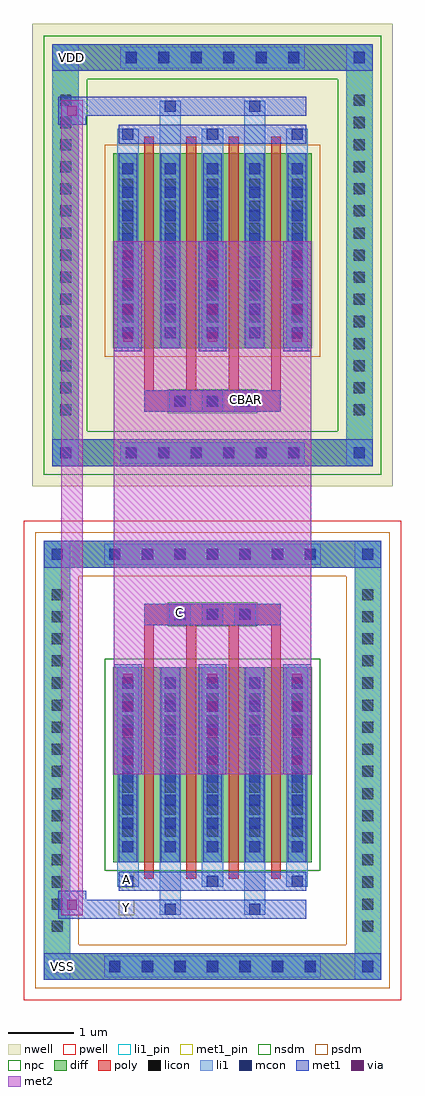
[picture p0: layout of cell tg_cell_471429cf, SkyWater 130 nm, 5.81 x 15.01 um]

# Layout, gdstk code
import gdstk
lib = gdstk.Library(unit=1e-6, precision=5e-09)
def R(c, l, rs):  # rectangles x0, y0, x1, y1
    for r in rs: c.add(gdstk.rectangle(r[:2], r[2:], *l))
def A(c, l, x, y, w, h, nx, ny, dx, dy):  # array of equal rectangles
    R(c, l, [(x+i*dx, y+j*dy, x+i*dx+w, y+j*dy+h) for i in range(nx) for j in range(ny)])
def P(c, l, *ps):  # polygons
    for p in ps: c.add(gdstk.Polygon(p, *l))
nwell = (64, 20)
pwell = (64, 44)
diff = (65, 20)
poly = (66, 20)
licon = (66, 44)
li1_pin = (67, 16)
li1 = (67, 20)
mcon = (67, 44)
met1_pin = (68, 16)
met1 = (68, 20)
via = (68, 44)
met2 = (69, 20)
nsdm = (93, 44)
psdm = (94, 20)
npc = (95, 20)

tg_cell_471429cf = lib.new_cell('tg_cell_471429cf')
R(tg_cell_471429cf, nwell, [(-2.775,4.215,2.775,11.325)])
R(tg_cell_471429cf, pwell, [(-2.905,-3.685,2.905,3.685)])
A(tg_cell_471429cf, diff, -1.705, -3.375, 0.41, 0.41, 7, 2, 0.5, 6.34)
A(tg_cell_471429cf, diff, -2.595, -2.755, 0.41, 0.41, 1, 16, 0, 0.34)
A(tg_cell_471429cf, diff, 2.185, -2.755, 0.41, 0.41, 1, 16, 0, 0.34)
A(tg_cell_471429cf, diff, -1.455, 4.525, 0.41, 0.41, 6, 2, 0.5, 6.08)
A(tg_cell_471429cf, diff, -2.465, 5.185, 0.41, 0.41, 1, 15, 0, 0.34)
A(tg_cell_471429cf, diff, 2.055, 5.185, 0.41, 0.41, 1, 15, 0, 0.34)
R(tg_cell_471429cf, diff, [(-1.705,-3.375,1.705,-2.965), (-2.595,-2.755,-2.185,2.755), (2.185,-2.755,2.595,2.755), (-1.525,-1.57,1.525,1.43), (-1.705,2.965,1.705,3.375), (-1.455,4.525,1.455,4.935), (-2.465,5.185,-2.055,10.355), (2.055,5.185,2.465,10.355), (-1.525,6.34,1.525,9.34), (-1.455,10.605,1.455,11.015)])
P(tg_cell_471429cf, diff, [(2.465,11.015),(-2.465,11.015),(-2.465,4.935),(-2.055,4.935),(-2.055,10.605),(2.055,10.605),(2.055,4.935),(-2.055,4.935),(-2.465,4.935),(-2.465,4.525),(2.465,4.525)],
  [(2.595,-3.375),(-2.595,-3.375),(-2.595,2.965),(-2.185,2.965),(-2.185,-2.965),(2.185,-2.965),(2.185,2.965),(-2.185,2.965),(-2.595,2.965),(-2.595,3.375),(2.595,3.375)])
A(tg_cell_471429cf, poly, -1.05, -1.82, 0.15, 3.5, 4, 2, 0.65, 7.91)
A(tg_cell_471429cf, poly, -1.05, 1.68, 0.15, 0.4, 4, 2, 0.65, 4.01)
A(tg_cell_471429cf, poly, -0.665, 2.08, 0.33, 0.33, 3, 2, 0.5, 3.28)
R(tg_cell_471429cf, poly, [(-1.05,2.08,1.05,2.41), (-1.05,5.36,1.05,5.69)])
A(tg_cell_471429cf, licon, -1.585, -3.255, 0.17, 0.17, 7, 2, 0.5, 6.34)
A(tg_cell_471429cf, licon, -2.475, -2.635, 0.17, 0.17, 1, 16, 0, 0.34)
A(tg_cell_471429cf, licon, 2.305, -2.635, 0.17, 0.17, 1, 16, 0, 0.34)
A(tg_cell_471429cf, licon, -1.385, -1.175, 0.17, 0.17, 5, 7, 0.65, 0.34)
A(tg_cell_471429cf, licon, -0.585, 2.16, 0.17, 0.17, 3, 2, 0.5, 3.28)
A(tg_cell_471429cf, licon, -1.335, 4.645, 0.17, 0.17, 6, 2, 0.5, 6.08)
A(tg_cell_471429cf, licon, -2.345, 5.305, 0.17, 0.17, 1, 15, 0, 0.34)
A(tg_cell_471429cf, licon, 2.175, 5.305, 0.17, 0.17, 1, 15, 0, 0.34)
A(tg_cell_471429cf, licon, -1.385, 6.735, 0.17, 0.17, 5, 7, 0.65, 0.34)
R(tg_cell_471429cf, li1_pin, [(-0.62,2.15,-0.38,2.39), (0.38,5.43,0.62,5.67)])
A(tg_cell_471429cf, li1, -1.665, -3.335, 0.33, 0.33, 7, 2, 0.5, 6.34)
A(tg_cell_471429cf, li1, -2.555, -2.715, 0.33, 0.33, 1, 16, 0, 0.34)
A(tg_cell_471429cf, li1, 2.225, -2.715, 0.33, 0.33, 1, 16, 0, 0.34)
A(tg_cell_471429cf, li1, -1.465, -1.945, 0.33, 0.375, 3, 2, 1.3, 11.285)
A(tg_cell_471429cf, li1, -1.385, -1.945, 0.17, 0.17, 3, 2, 1.3, 11.49)
A(tg_cell_471429cf, li1, -1.465, -1.57, 0.33, 3, 5, 2, 0.65, 7.91)
A(tg_cell_471429cf, li1, -1.385, -1.415, 0.17, 0.17, 5, 8, 0.65, 0.36)
A(tg_cell_471429cf, li1, -1.385, -1.415, 0.17, 2.69, 5, 2, 0.65, 7.91)
A(tg_cell_471429cf, li1, -1.465, -1.255, 0.33, 0.33, 5, 7, 0.65, 0.34)
A(tg_cell_471429cf, li1, -0.665, 2.08, 0.33, 0.33, 3, 2, 0.5, 3.28)
A(tg_cell_471429cf, li1, -1.415, 4.565, 0.33, 0.33, 6, 2, 0.5, 6.08)
A(tg_cell_471429cf, li1, -2.425, 5.225, 0.33, 0.33, 1, 15, 0, 0.34)
A(tg_cell_471429cf, li1, 2.095, 5.225, 0.33, 0.33, 1, 15, 0, 0.34)
A(tg_cell_471429cf, li1, -1.385, 6.495, 0.17, 0.17, 5, 8, 0.65, 0.36)
A(tg_cell_471429cf, li1, -1.465, 6.655, 0.33, 0.33, 5, 7, 0.65, 0.34)
R(tg_cell_471429cf, li1, [(-2.595,-3.375,-2.185,-2.965), (2.185,-3.375,2.595,-2.965), (-1.665,-3.335,1.665,-3.005), (-2.475,-3.255,-2.305,-3.085), (-2.475,-3.255,-2.305,-3.085), (2.305,-3.255,2.475,-3.085), (2.305,-3.255,2.475,-3.085), (-2.595,-2.965,-2.185,2.965), (2.185,-2.965,2.595,2.965), (-0.815,-2.375,-0.485,-1.57), (-0.735,-2.375,-0.565,-2.205), (0.485,-2.375,0.815,-1.57), (0.565,-2.375,0.735,-2.205), (-2.595,2.965,-2.185,3.375), (2.185,2.965,2.595,3.375), (-1.665,3.005,1.665,3.335), (-2.475,3.085,-2.305,3.255), (-2.475,3.085,-2.305,3.255), (2.305,3.085,2.475,3.255), (2.305,3.085,2.475,3.255), (-2.465,4.525,-2.055,4.935), (2.055,4.525,2.465,4.935), (-1.415,4.565,1.415,4.895), (-2.345,4.645,-2.175,4.815), (-2.345,4.645,-2.175,4.815), (2.175,4.645,2.345,4.815), (2.175,4.645,2.345,4.815), (-2.465,4.935,-2.055,10.605), (2.055,4.935,2.465,10.605), (-0.815,9.34,-0.485,10.145), (0.485,9.34,0.815,10.145), (-0.735,9.975,-0.565,10.145), (0.565,9.975,0.735,10.145), (-2.465,10.605,-2.055,11.015), (2.055,10.605,2.465,11.015), (-1.415,10.645,1.415,10.975), (-2.345,10.725,-2.175,10.895), (-2.345,10.725,-2.175,10.895), (2.175,10.725,2.345,10.895), (2.175,10.725,2.345,10.895)])
A(tg_cell_471429cf, mcon, -1.585, -3.255, 0.17, 0.17, 7, 2, 0.5, 6.34)
A(tg_cell_471429cf, mcon, -1.385, -1.945, 0.17, 0.17, 3, 2, 1.3, 11.49)
A(tg_cell_471429cf, mcon, -1.385, -1.415, 0.17, 0.17, 5, 8, 0.65, 0.36)
A(tg_cell_471429cf, mcon, -0.585, 2.16, 0.17, 0.17, 3, 2, 0.5, 3.28)
A(tg_cell_471429cf, mcon, -1.335, 4.645, 0.17, 0.17, 6, 2, 0.5, 6.08)
A(tg_cell_471429cf, mcon, -1.385, 6.495, 0.17, 0.17, 5, 8, 0.65, 0.36)
R(tg_cell_471429cf, mcon, [(-2.475,-3.255,-2.305,-3.085), (2.305,-3.255,2.475,-3.085), (-0.735,-2.375,-0.565,-2.205), (0.565,-2.375,0.735,-2.205), (-2.475,3.085,-2.305,3.255), (2.305,3.085,2.475,3.255), (-2.345,4.645,-2.175,4.815), (2.175,4.645,2.345,4.815), (-0.735,9.975,-0.565,10.145), (0.565,9.975,0.735,10.145), (-2.345,10.725,-2.175,10.895), (2.175,10.725,2.345,10.895)])
R(tg_cell_471429cf, met1_pin, [(-2.425,-3.29,-2.185,-3.05), (-1.445,-2.385,-1.205,-2.145), (-1.445,-1.955,-1.205,-1.715), (-2.295,10.69,-2.055,10.93)])
A(tg_cell_471429cf, met1, -1.645, -3.315, 0.29, 0.29, 7, 2, 0.5, 6.34)
A(tg_cell_471429cf, met1, -1.445, -2.005, 0.29, 0.29, 3, 2, 1.3, 11.49)
A(tg_cell_471429cf, met1, -1.445, -1.57, 0.29, 3, 5, 2, 0.65, 7.91)
A(tg_cell_471429cf, met1, -1.445, -1.475, 0.29, 0.29, 5, 8, 0.65, 0.36)
A(tg_cell_471429cf, met1, -0.645, 2.1, 0.29, 0.29, 3, 2, 0.5, 3.28)
A(tg_cell_471429cf, met1, -1.395, 4.585, 0.29, 0.29, 6, 2, 0.5, 6.08)
A(tg_cell_471429cf, met1, -1.445, 6.435, 0.29, 0.29, 5, 8, 0.65, 0.36)
R(tg_cell_471429cf, met1, [(-2.595,-3.375,-2.185,-2.965), (-2.595,-3.375,-2.185,-2.965), (-2.185,-3.375,2.185,-2.965), (2.185,-3.375,2.595,-2.965), (2.185,-3.375,2.595,-2.965), (-2.535,-3.315,-2.245,-3.025), (2.245,-3.315,2.535,-3.025), (-2.375,-2.435,-1.445,-2.145), (-2.375,-2.435,-1.945,-2.005), (-1.445,-2.435,1.445,-2.145), (-0.795,-2.435,-0.505,-2.145), (0.505,-2.435,0.795,-2.145), (-1.445,-2.005,1.445,-1.715), (-1.515,-0.215,-1.085,0.215), (-1.515,-0.215,-1.085,0.215), (-0.215,-0.215,0.215,0.215), (-0.215,-0.215,0.215,0.215), (1.085,-0.215,1.515,0.215), (1.085,-0.215,1.515,0.215), (-1.515,0.205,-1.085,0.635), (-1.515,0.205,-1.085,0.635), (-0.215,0.205,0.215,0.635), (-0.215,0.205,0.215,0.635), (1.085,0.205,1.515,0.635), (1.085,0.205,1.515,0.635), (-1.515,0.625,-1.085,1.055), (-1.515,0.625,-1.085,1.055), (-0.215,0.625,0.215,1.055), (-0.215,0.625,0.215,1.055), (1.085,0.625,1.515,1.055), (1.085,0.625,1.515,1.055), (-1.515,1.045,-1.085,1.475), (-1.515,1.045,-1.085,1.475), (-0.215,1.045,0.215,1.475), (-0.215,1.045,0.215,1.475), (1.085,1.045,1.515,1.475), (1.085,1.045,1.515,1.475), (-1.05,2.08,1.05,2.41), (-2.595,2.965,-2.185,3.375), (-2.595,2.965,-2.185,3.375), (-2.185,2.965,2.185,3.375), (2.185,2.965,2.595,3.375), (2.185,2.965,2.595,3.375), (-2.535,3.025,-2.245,3.315), (2.245,3.025,2.535,3.315), (-2.465,4.525,-2.055,4.935), (-2.465,4.525,-2.055,4.935), (-2.055,4.525,2.055,4.935), (2.055,4.525,2.465,4.935), (2.055,4.525,2.465,4.935), (-2.405,4.585,-2.115,4.875), (2.115,4.585,2.405,4.875), (-1.05,5.36,1.05,5.69), (-1.515,6.295,-1.085,6.725), (-1.515,6.295,-1.085,6.725), (-0.215,6.295,0.215,6.725), (-0.215,6.295,0.215,6.725), (1.085,6.295,1.515,6.725), (1.085,6.295,1.515,6.725), (-1.515,6.715,-1.085,7.145), (-1.515,6.715,-1.085,7.145), (-0.215,6.715,0.215,7.145), (-0.215,6.715,0.215,7.145), (1.085,6.715,1.515,7.145), (1.085,6.715,1.515,7.145), (-1.515,7.135,-1.085,7.565), (-1.515,7.135,-1.085,7.565), (-0.215,7.135,0.215,7.565), (-0.215,7.135,0.215,7.565), (1.085,7.135,1.515,7.565), (1.085,7.135,1.515,7.565), (-1.515,7.555,-1.085,7.985), (-1.515,7.555,-1.085,7.985), (-0.215,7.555,0.215,7.985), (-0.215,7.555,0.215,7.985), (1.085,7.555,1.515,7.985), (1.085,7.555,1.515,7.985), (-1.445,9.485,1.445,9.775), (-2.375,9.775,-1.945,10.205), (-2.375,9.915,-1.445,10.205), (-1.445,9.915,1.445,10.205), (-0.795,9.915,-0.505,10.205), (0.505,9.915,0.795,10.205), (-2.465,10.605,-2.055,11.015), (-2.465,10.605,-2.055,11.015), (-2.055,10.605,2.055,11.015), (2.055,10.605,2.465,11.015), (2.055,10.605,2.465,11.015), (-2.405,10.665,-2.115,10.955), (2.115,10.665,2.405,10.955)])
A(tg_cell_471429cf, via, -1.375, -0.075, 0.15, 0.15, 3, 4, 1.3, 0.42)
A(tg_cell_471429cf, via, -1.375, 6.435, 0.15, 0.15, 3, 4, 1.3, 0.42)
R(tg_cell_471429cf, via, [(-2.235,-2.295,-2.085,-2.145), (-2.235,9.915,-2.085,10.065)])
A(tg_cell_471429cf, met2, -1.515, -0.215, 0.43, 0.43, 3, 4, 1.3, 0.42)
A(tg_cell_471429cf, met2, -1.465, -0.165, 0.33, 0.33, 3, 4, 1.3, 0.42)
A(tg_cell_471429cf, met2, -1.515, 6.295, 0.43, 0.43, 3, 4, 1.3, 0.42)
A(tg_cell_471429cf, met2, -1.465, 6.345, 0.33, 0.33, 3, 4, 1.3, 0.42)
R(tg_cell_471429cf, met2, [(-2.325,-2.385,-1.995,-2.055), (-2.325,-2.385,-1.995,10.155), (-1.515,-0.215,1.515,7.985), (-2.325,9.825,-1.995,10.155)])
P(tg_cell_471429cf, met2, [(-1.995,-2.385),(-1.995,-2.385),(-1.995,-2.055),(-1.995,-2.055)],
  [(-1.995,9.825),(-1.995,9.825),(-1.995,10.155),(-1.995,10.155)])
R(tg_cell_471429cf, nsdm, [(-1.655,-1.7,1.655,1.56)])
P(tg_cell_471429cf, nsdm, [(2.595,11.145),(-2.595,11.145),(-2.595,5.065),(-1.925,5.065),(-1.925,10.475),(1.925,10.475),(1.925,5.065),(-1.925,5.065),(-2.595,5.065),(-2.595,4.395),(2.595,4.395)])
R(tg_cell_471429cf, psdm, [(-1.655,6.21,1.655,9.47)])
P(tg_cell_471429cf, psdm, [(2.725,-3.505),(-2.725,-3.505),(-2.725,2.835),(-2.055,2.835),(-2.055,-2.835),(2.055,-2.835),(2.055,2.835),(-2.055,2.835),(-2.725,2.835),(-2.725,3.505),(2.725,3.505)])
A(tg_cell_471429cf, npc, -0.685, 2.06, 0.37, 0.37, 3, 2, 0.5, 3.28)
R(tg_cell_471429cf, npc, [(-0.685,2.06,0.185,2.43), (-0.685,2.06,0.185,2.43), (-0.185,2.06,0.685,2.43), (-0.185,2.06,0.685,2.43), (-0.685,5.34,0.185,5.71), (-0.685,5.34,0.185,5.71), (-0.185,5.34,0.685,5.71), (-0.185,5.34,0.685,5.71)])
tg_cell_471429cf.add(gdstk.Label('CBAR', (0.5,5.55), layer=67, texttype=5))
tg_cell_471429cf.add(gdstk.Label('C', (-0.5,2.27), layer=67, texttype=5))
tg_cell_471429cf.add(gdstk.Label('Y', (-1.325,-2.265), layer=68, texttype=5))
tg_cell_471429cf.add(gdstk.Label('A', (-1.325,-1.835), layer=68, texttype=5))
tg_cell_471429cf.add(gdstk.Label('VSS', (-2.305,-3.17), layer=68, texttype=5))
tg_cell_471429cf.add(gdstk.Label('VDD', (-2.175,10.81), layer=68, texttype=5))

lib.write_gds('tg_cell_471429cf.gds')
